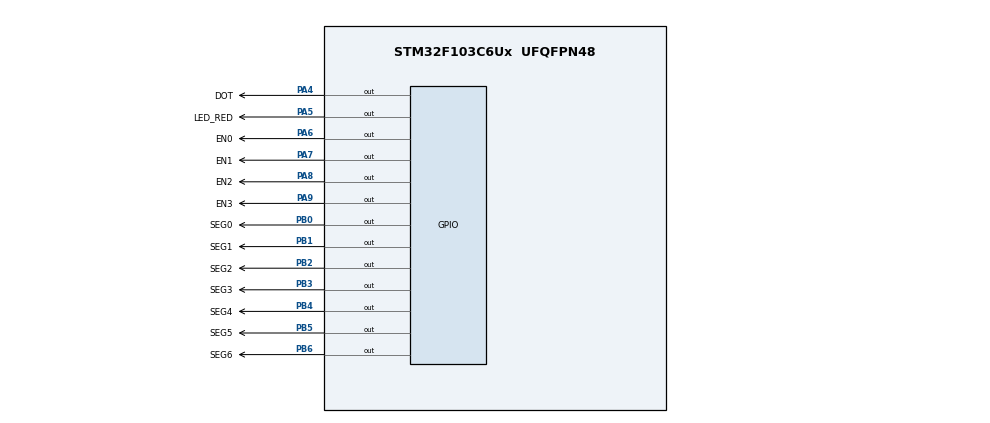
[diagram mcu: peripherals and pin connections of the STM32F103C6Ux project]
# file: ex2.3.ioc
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Mcu.Family=STM32F1
Mcu.Name=STM32F103C6Ux
Mcu.Package=UFQFPN48
NVIC.PriorityGroup=NVIC_PRIORITYGROUP_4
NVIC.TIM2_IRQn=true\:0\:0\:false\:false\:true\:true\:true
PA4.GPIO_Label=DOT
PA4.Signal=GPIO_Output
PA5.GPIO_Label=LED_RED
PA5.Signal=GPIO_Output
PA6.GPIO_Label=EN0
PA6.Signal=GPIO_Output
PA7.GPIO_Label=EN1
PA7.Signal=GPIO_Output
PA8.GPIO_Label=EN2
PA8.Signal=GPIO_Output
PA9.GPIO_Label=EN3
PA9.Signal=GPIO_Output
PB0.GPIO_Label=SEG0
PB0.Signal=GPIO_Output
PB1.GPIO_Label=SEG1
PB1.Signal=GPIO_Output
PB2.GPIO_Label=SEG2
PB2.Signal=GPIO_Output
PB3.GPIO_Label=SEG3
PB3.Signal=GPIO_Output
PB4.GPIO_Label=SEG4
PB4.Signal=GPIO_Output
PB5.GPIO_Label=SEG5
PB5.Signal=GPIO_Output
PB6.GPIO_Label=SEG6
PB6.Signal=GPIO_Output
ProjectManager.HeapSize=0x200
ProjectManager.StackSize=0x400
ProjectManager.TargetToolchain=STM32CubeIDE
RCC.APB1Freq_Value=8000000
RCC.APB2Freq_Value=8000000
TIM2.Period=9
TIM2.Prescaler=7999
VP_SYS_VS_ND.Mode=No_Debug
VP_TIM2_VS_ClockSourceINT.Mode=Internal
board=custom

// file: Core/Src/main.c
/* USER CODE BEGIN Header */
/**
  ******************************************************************************
  * @file           : main.c
  * @brief          : Main program body
  ******************************************************************************
  * @attention
  *
  * <h2><center>&copy; Copyright (c) 2022 STMicroelectronics.
  * All rights reserved.</center></h2>
  *
  * This software component is licensed by ST under BSD 3-Clause license,
  * the "License"; You may not use this file except in compliance with the
  * License. You may obtain a copy of the License at:
  *                        opensource.org/licenses/BSD-3-Clause
  *
  ******************************************************************************
  */
/* USER CODE END Header */
#include "main.h"

TIM_HandleTypeDef htim2;

void SystemClock_Config(void);
static void MX_GPIO_Init(void);
static void MX_TIM2_Init(void);

/* USER CODE BEGIN 0 */
const int MAX_LED = 4;
int index_led = 0;
int led_buffer[4] = {1,2,3,4};
int pinControll7SEG[4] = {EN0_Pin, EN1_Pin, EN2_Pin, EN3_Pin};

/* USER CODE END 0 */
void clearLed() {
	HAL_GPIO_WritePin(GPIOA, EN0_Pin | EN1_Pin | EN2_Pin | EN3_Pin, SET);
}

void clearPin(int index) {
  HAL_GPIO_WritePin(GPIOA, pinControll7SEG[index], SET);
}

void enablePin(int index) {
	HAL_GPIO_WritePin(GPIOA, pinControll7SEG[index], RESET);
}

void display7SEG(int num) {
    char segNumber[10] = {0xC0, 0xF9, 0xA4, 0xB0, 0x99, 0x92, 0x82, 0xF8, 0x80, 0x90};
    for (int i = 0; i < 7; ++i) {
        HAL_GPIO_WritePin(GPIOB, GPIO_PIN_0 << i, (segNumber[num] >> i) & 1);
    }
}

void clearEnable(){
	HAL_GPIO_WritePin(EN0_GPIO_Port, EN0_Pin, 1);
	HAL_GPIO_WritePin(EN1_GPIO_Port, EN1_Pin, 1);
	HAL_GPIO_WritePin(EN2_GPIO_Port, EN2_Pin, 1);
	HAL_GPIO_WritePin(EN3_GPIO_Port, EN3_Pin, 1);
}

void update7SEG(int index) {
	clearLed();
	clearEnable();
	switch(index) {
	 // Display the first 7 SEG with led_buffer [0]
	  case 0: {
		  display7SEG(led_buffer[0]);
		  enablePin(0);
		  break;
	  }
	  // Display the first 7 SEG with led_buffer [1]
	  case 1: {
		  display7SEG(led_buffer[1]);
		  enablePin(1);
		  break;
	  }
	  // Display the first 7 SEG with led_buffer [2]
	  case 2: {
		  display7SEG(led_buffer[2]);
		  enablePin(2);
		  break;
	  }
	  // Display the first 7 SEG with led_buffer [3]
	  case 3: {
		  display7SEG(led_buffer[3]);
		  enablePin(3);
		  break;
	  }
	}
}

int main(void)
{

  /* MCU Configuration--------------------------------------------------------*/

  /* Reset of all peripherals, Initializes the Flash interface and the Systick. */
  HAL_Init();

  /* Configure the system clock */
  SystemClock_Config();

  /* Initialize all configured peripherals */
  MX_GPIO_Init();
  MX_TIM2_Init();
  /* USER CODE BEGIN 2 */
  HAL_TIM_Base_Start_IT(&htim2);
  /* USER CODE END 2 */

  /* Infinite loop */
  /* USER CODE BEGIN WHILE */

//  clearLed();
  while (1)
  {
    /* USER CODE END WHILE */
  }
}

void SystemClock_Config(void)
{
  RCC_OscInitTypeDef RCC_OscInitStruct = {0};
  RCC_ClkInitTypeDef RCC_ClkInitStruct = {0};

  /** Initializes the RCC Oscillators according to the specified parameters
  * in the RCC_OscInitTypeDef structure.
  */
  RCC_OscInitStruct.OscillatorType = RCC_OSCILLATORTYPE_HSI;
  RCC_OscInitStruct.HSIState = RCC_HSI_ON;
  RCC_OscInitStruct.HSICalibrationValue = RCC_HSICALIBRATION_DEFAULT;
  RCC_OscInitStruct.PLL.PLLState = RCC_PLL_NONE;
  if (HAL_RCC_OscConfig(&RCC_OscInitStruct) != HAL_OK)
  {
    Error_Handler();
  }
  /** Initializes the CPU, AHB and APB buses clocks
  */
  RCC_ClkInitStruct.ClockType = RCC_CLOCKTYPE_HCLK|RCC_CLOCKTYPE_SYSCLK
                              |RCC_CLOCKTYPE_PCLK1|RCC_CLOCKTYPE_PCLK2;
  RCC_ClkInitStruct.SYSCLKSource = RCC_SYSCLKSOURCE_HSI;
  RCC_ClkInitStruct.AHBCLKDivider = RCC_SYSCLK_DIV1;
  RCC_ClkInitStruct.APB1CLKDivider = RCC_HCLK_DIV1;
  RCC_ClkInitStruct.APB2CLKDivider = RCC_HCLK_DIV1;

  if (HAL_RCC_ClockConfig(&RCC_ClkInitStruct, FLASH_LATENCY_0) != HAL_OK)
  {
    Error_Handler();
  }
}

static void MX_TIM2_Init(void)
{

  TIM_ClockConfigTypeDef sClockSourceConfig = {0};
  TIM_MasterConfigTypeDef sMasterConfig = {0};

  htim2.Instance = TIM2;
  htim2.Init.Prescaler = 7999;
  htim2.Init.CounterMode = TIM_COUNTERMODE_UP;
  htim2.Init.Period = 9;
  htim2.Init.ClockDivision = TIM_CLOCKDIVISION_DIV1;
  htim2.Init.AutoReloadPreload = TIM_AUTORELOAD_PRELOAD_DISABLE;
  if (HAL_TIM_Base_Init(&htim2) != HAL_OK)
  {
    Error_Handler();
  }
  sClockSourceConfig.ClockSource = TIM_CLOCKSOURCE_INTERNAL;
  if (HAL_TIM_ConfigClockSource(&htim2, &sClockSourceConfig) != HAL_OK)
  {
    Error_Handler();
  }
  sMasterConfig.MasterOutputTrigger = TIM_TRGO_RESET;
  sMasterConfig.MasterSlaveMode = TIM_MASTERSLAVEMODE_DISABLE;
  if (HAL_TIMEx_MasterConfigSynchronization(&htim2, &sMasterConfig) != HAL_OK)
  {
    Error_Handler();
  }

}

static void MX_GPIO_Init(void)
{
  GPIO_InitTypeDef GPIO_InitStruct = {0};

  /* GPIO Ports Clock Enable */
  __HAL_RCC_GPIOA_CLK_ENABLE();
  __HAL_RCC_GPIOB_CLK_ENABLE();

  /*Configure GPIO pin Output Level */
  HAL_GPIO_WritePin(GPIOA, GPIO_PIN_4|GPIO_PIN_5|GPIO_PIN_6|GPIO_PIN_7
                          |GPIO_PIN_8|GPIO_PIN_9, GPIO_PIN_RESET);

  /*Configure GPIO pin Output Level */
  HAL_GPIO_WritePin(GPIOB, GPIO_PIN_0|GPIO_PIN_1|GPIO_PIN_2|GPIO_PIN_3
                          |GPIO_PIN_4|GPIO_PIN_5|GPIO_PIN_6, GPIO_PIN_RESET);

  /*Configure GPIO pins : PA4 PA5 PA6 PA7
                           PA8 PA9 */
  GPIO_InitStruct.Pin = GPIO_PIN_4|GPIO_PIN_5|GPIO_PIN_6|GPIO_PIN_7
                          |GPIO_PIN_8|GPIO_PIN_9;
  GPIO_InitStruct.Mode = GPIO_MODE_OUTPUT_PP;
  GPIO_InitStruct.Pull = GPIO_NOPULL;
  GPIO_InitStruct.Speed = GPIO_SPEED_FREQ_LOW;
  HAL_GPIO_Init(GPIOA, &GPIO_InitStruct);

  /*Configure GPIO pins : PB0 PB1 PB2 PB3
                           PB4 PB5 PB6 */
  GPIO_InitStruct.Pin = GPIO_PIN_0|GPIO_PIN_1|GPIO_PIN_2|GPIO_PIN_3
                          |GPIO_PIN_4|GPIO_PIN_5|GPIO_PIN_6;
  GPIO_InitStruct.Mode = GPIO_MODE_OUTPUT_PP;
  GPIO_InitStruct.Pull = GPIO_NOPULL;
  GPIO_InitStruct.Speed = GPIO_SPEED_FREQ_LOW;
  HAL_GPIO_Init(GPIOB, &GPIO_InitStruct);

}

/* USER CODE BEGIN 4 */
int counter = 100;
void HAL_TIM_PeriodElapsedCallback(TIM_HandleTypeDef *htim)
{
	if(counter > 0) {
		counter--;
		if(counter == 50 || counter == 0) {
			//LED RED & DOT BLINK 1s
			if(counter == 0) {
				HAL_GPIO_TogglePin(LED_RED_GPIO_Port, LED_RED_Pin);
				HAL_GPIO_TogglePin(DOT_GPIO_Port, DOT_Pin);
				counter = 100;
			}
			// SWITCH 4 LED7SEG 500ms
			update7SEG(index_led++);
			if(index_led >= 4) index_led = 0;
		}
	}
}
/* USER CODE END 4 */

void Error_Handler(void)
{
  __disable_irq();
  while (1)
  {
  }
}

/************************ (C) COPYRIGHT STMicroelectronics *****END OF FILE****/
